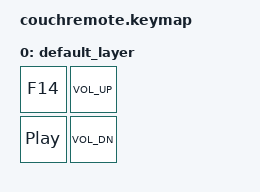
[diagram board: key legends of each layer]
// &soft_off {
//    hold-time-ms = <5000>; // Only turn off it the key is held for 5 seconds or longer.
// };

#include <behaviors.dtsi>
#include <dt-bindings/zmk/keys.h>
#include <dt-bindings/zmk/bt.h>
#include <dt-bindings/zmk/ext_power.h>
#include <dt-bindings/zmk/outputs.h>
#include <dt-bindings/zmk/mouse.h>
#include <behaviors/mouse_keys.dtsi>

#define DEFAULT 0


/ {
     keymap {
         compatible = "zmk,keymap";

          default_layer {
              bindings = <
                &kp F14           &kp C_VOL_UP
                &kp C_PLAY_PAUSE  &kp C_VOL_DN
              >;
          };

     };

     combos {
        compatible = "zmk,combos";
        combo_bl {
            timeout-ms = <100>;
            key-positions = <0 1 2>;
            bindings = <&bootloader>;
        };
    };
};

//////////////////////
//////////////////////
//////////////////////
//////////////////////
//////////////////////
//////////////////////
//////////////////////
//////////////////////
